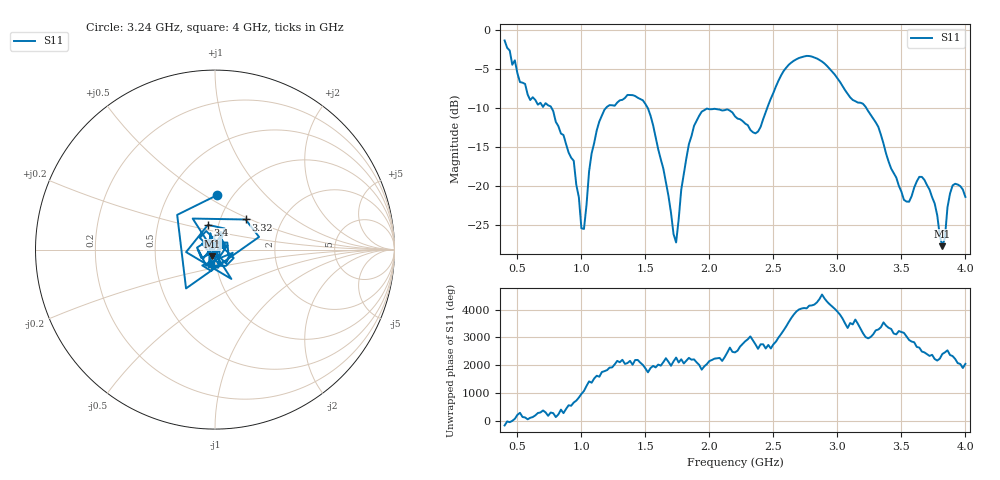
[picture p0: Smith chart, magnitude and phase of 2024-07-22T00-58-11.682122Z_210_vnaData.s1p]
!Created with skrf (http://scikit-rf.org).
# Hz S RI R 50.0
!freq ReS11 ImS11
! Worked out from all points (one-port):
!   181 points, 400 MHz to 4 GHz, reference 50 ohm
!   lowest |S11| = -27.7 dB at 3.82 GHz (marker M1), VSWR 1.09, Z = 48.4 - j3.71 ohm
!   |S11| at or under -10 dB: 766.8 MHz to 1.192 GHz (425.1 MHz wide, 43.4 % of centre); 1.518 GHz to 2.452 GHz (933.5 MHz wide, 47 % of centre); 3.226 GHz to end of sweep
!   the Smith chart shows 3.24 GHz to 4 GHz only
!   S11 on the Smith chart (normalised r, x): 3.24 GHz: 0.85, +0.56; 3.32 GHz: 1.32, +0.47; 3.4 GHz: 0.89, +0.25; 4 GHz: 0.94, -0.16
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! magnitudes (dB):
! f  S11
! 400 MHz  -1.3
! 600 MHz  -9.0
! 860 MHz  -13.5
! 940 MHz  -16.8
! 1 GHz  -25.4
! 1.02 GHz  -25.5
! 1.06 GHz  -18.1
! 1.12 GHz  -12.8
! 1.3 GHz  -9.0
! 1.52 GHz  -10.0
! 1.72 GHz  -26.2
! 1.74 GHz  -27.2
! 1.76 GHz  -24.3
! 1.84 GHz  -14.6
! 1.92 GHz  -11.0
! 2.2 GHz  -11.1
! 2.38 GHz  -13.0
! 2.66 GHz  -3.9
! 2.88 GHz  -4.0
! 3.1 GHz  -8.6
! 3.24 GHz  -10.4
! 3.32 GHz  -12.4
! 3.4 GHz  -16.9
! 3.56 GHz  -22.0
! 3.68 GHz  -19.2
! 3.82 GHz  -27.7
! 3.9 GHz  -19.9
! 4 GHz  -21.4
